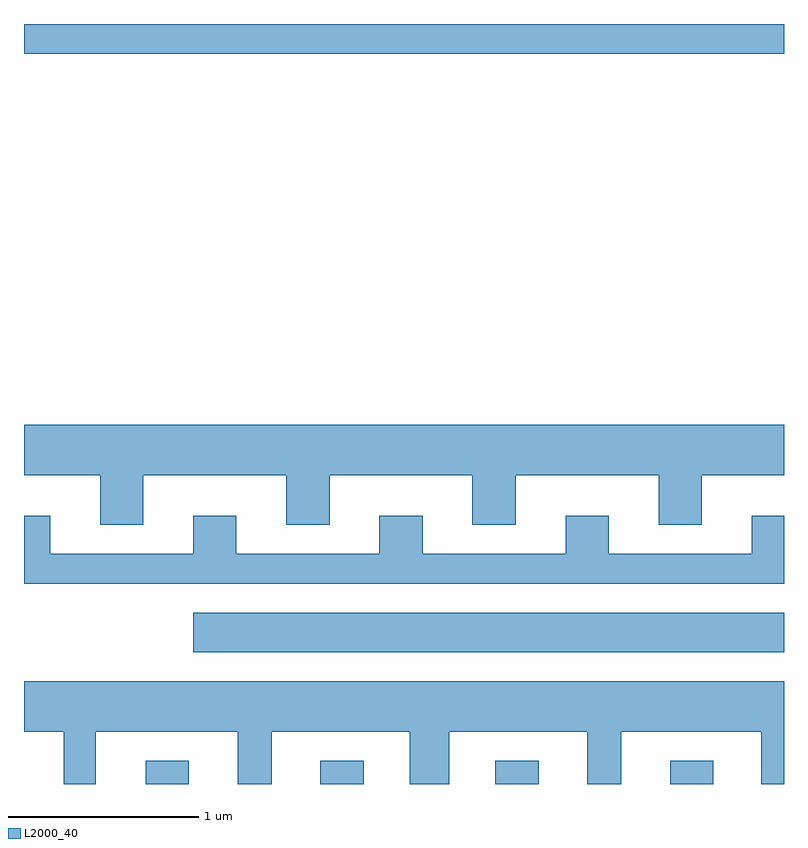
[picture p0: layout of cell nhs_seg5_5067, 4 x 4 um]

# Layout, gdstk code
import gdstk
lib = gdstk.Library(unit=1e-6, precision=1e-09)
def R(c, l, rs):  # rectangles x0, y0, x1, y1
    for r in rs: c.add(gdstk.rectangle(r[:2], r[2:], *l))
def A(c, l, x, y, w, h, nx, ny, dx, dy):  # array of equal rectangles
    R(c, l, [(x+i*dx, y+j*dy, x+i*dx+w, y+j*dy+h) for i in range(nx) for j in range(ny)])
def P(c, l, *ps):  # polygons
    for p in ps: c.add(gdstk.Polygon(p, *l))
L2000_40 = (2000, 40)

nhs_seg5_5067 = lib.new_cell('nhs_seg5_5067')
A(nhs_seg5_5067, L2000_40, 336.251, 1444.072, 0.228, 0.122, 4, 1, 0.92, 0)
R(nhs_seg5_5067, L2000_40, [(336.501,1444.766,339.611,1444.974), (335.611,1447.916,339.611,1448.072)])
P(nhs_seg5_5067, L2000_40, [(336.239,1445.696),(336.991,1445.696),(336.991,1445.436),(337.219,1445.436),(337.219,1445.696),(337.971,1445.696),(337.971,1445.436),(338.199,1445.436),(338.199,1445.696),(338.951,1445.696),(338.951,1445.436),(339.179,1445.436),(339.179,1445.696),(339.611,1445.696),(339.611,1445.964),(335.611,1445.964),(335.611,1445.696),(336.011,1445.696),(336.011,1445.436),(336.239,1445.436)],
  [(339.611,1445.484),(339.441,1445.484),(339.441,1445.284),(338.689,1445.284),(338.689,1445.484),(338.461,1445.484),(338.461,1445.284),(337.709,1445.284),(337.709,1445.484),(337.481,1445.484),(337.481,1445.284),(336.729,1445.284),(336.729,1445.484),(336.501,1445.484),(336.501,1445.284),(335.749,1445.284),(335.749,1445.484),(335.611,1445.484),(335.611,1445.126),(339.611,1445.126)],
  [(335.989,1444.346),(336.736,1444.346),(336.736,1444.072),(336.914,1444.072),(336.914,1444.346),(337.641,1444.346),(337.641,1444.072),(337.849,1444.072),(337.849,1444.346),(338.576,1444.346),(338.576,1444.072),(338.754,1444.072),(338.754,1444.346),(339.491,1444.346),(339.491,1444.072),(339.611,1444.072),(339.611,1444.614),(335.611,1444.614),(335.611,1444.346),(335.821,1444.346),(335.821,1444.072),(335.989,1444.072)])

lib.write_gds('nhs_seg5_5067.gds')
